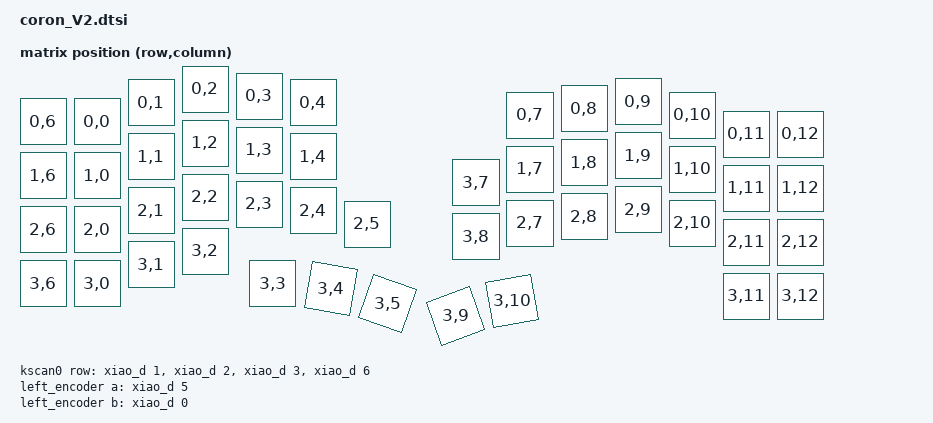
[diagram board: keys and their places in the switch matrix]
#include <dt-bindings/zmk/matrix_transform.h>
#include <physical_layouts.dtsi>

/ {
    chosen {
        zmk,physical-layout = &coron_v2_physical_layout;
    };

    coron_v2_physical_layout: coron_v2_physical_layout {
        compatible = "zmk,physical-layout";
        display-name = "Default";
        transform = <&default_transform>;
        kscan = <&kscan0>;

        /* Derived from the PCB switch positions. 19 mm pitch = 100 units.
           The order matches &default_transform, position for position. */
        keys  //                    w    h     x     y     rot     rx     ry
            = <&key_physical_attrs 100 100     0    65       0      0      0>  /* RC(0,6) */
            , <&key_physical_attrs 100 100   108    65       0      0      0>  /* RC(0,0) */
            , <&key_physical_attrs 100 100   216    27       0      0      0>  /* RC(0,1) */
            , <&key_physical_attrs 100 100   324     0       0      0      0>  /* RC(0,2) */
            , <&key_physical_attrs 100 100   432    14       0      0      0>  /* RC(0,3) */
            , <&key_physical_attrs 100 100   540    27       0      0      0>  /* RC(0,4) */
            , <&key_physical_attrs 100 100   974    52       0      0      0>  /* RC(0,7) */
            , <&key_physical_attrs 100 100  1082    39       0      0      0>  /* RC(0,8) */
            , <&key_physical_attrs 100 100  1190    25       0      0      0>  /* RC(0,9) */
            , <&key_physical_attrs 100 100  1298    52       0      0      0>  /* RC(0,10) */
            , <&key_physical_attrs 100 100  1406    90       0      0      0>  /* RC(0,11) */
            , <&key_physical_attrs 100 100  1514    90       0      0      0>  /* RC(0,12) */
            , <&key_physical_attrs 100 100     0   173       0      0      0>  /* RC(1,6) */
            , <&key_physical_attrs 100 100   108   173       0      0      0>  /* RC(1,0) */
            , <&key_physical_attrs 100 100   216   135       0      0      0>  /* RC(1,1) */
            , <&key_physical_attrs 100 100   324   108       0      0      0>  /* RC(1,2) */
            , <&key_physical_attrs 100 100   432   122       0      0      0>  /* RC(1,3) */
            , <&key_physical_attrs 100 100   540   135       0      0      0>  /* RC(1,4) */
            , <&key_physical_attrs 100 100   866   187       0      0      0>  /* RC(3,7) */
            , <&key_physical_attrs 100 100   974   160       0      0      0>  /* RC(1,7) */
            , <&key_physical_attrs 100 100  1082   147       0      0      0>  /* RC(1,8) */
            , <&key_physical_attrs 100 100  1190   133       0      0      0>  /* RC(1,9) */
            , <&key_physical_attrs 100 100  1298   160       0      0      0>  /* RC(1,10) */
            , <&key_physical_attrs 100 100  1406   198       0      0      0>  /* RC(1,11) */
            , <&key_physical_attrs 100 100  1514   198       0      0      0>  /* RC(1,12) */
            , <&key_physical_attrs 100 100     0   281       0      0      0>  /* RC(2,6) */
            , <&key_physical_attrs 100 100   108   281       0      0      0>  /* RC(2,0) */
            , <&key_physical_attrs 100 100   216   243       0      0      0>  /* RC(2,1) */
            , <&key_physical_attrs 100 100   324   216       0      0      0>  /* RC(2,2) */
            , <&key_physical_attrs 100 100   432   230       0      0      0>  /* RC(2,3) */
            , <&key_physical_attrs 100 100   540   243       0      0      0>  /* RC(2,4) */
            , <&key_physical_attrs 100 100   648   270       0      0      0>  /* RC(2,5) */
            , <&key_physical_attrs 100 100   866   295       0      0      0>  /* RC(3,8) */
            , <&key_physical_attrs 100 100   974   268       0      0      0>  /* RC(2,7) */
            , <&key_physical_attrs 100 100  1082   255       0      0      0>  /* RC(2,8) */
            , <&key_physical_attrs 100 100  1190   241       0      0      0>  /* RC(2,9) */
            , <&key_physical_attrs 100 100  1298   268       0      0      0>  /* RC(2,10) */
            , <&key_physical_attrs 100 100  1406   306       0      0      0>  /* RC(2,11) */
            , <&key_physical_attrs 100 100  1514   306       0      0      0>  /* RC(2,12) */
            , <&key_physical_attrs 100 100     0   389       0      0      0>  /* RC(3,6) */
            , <&key_physical_attrs 100 100   108   389       0      0      0>  /* RC(3,0) */
            , <&key_physical_attrs 100 100   216   351       0      0      0>  /* RC(3,1) */
            , <&key_physical_attrs 100 100   324   324       0      0      0>  /* RC(3,2) */
            , <&key_physical_attrs 100 100   459   389       0      0      0>  /* RC(3,3) */
            , <&key_physical_attrs 100 100   576   399    1000    626    449>  /* RC(3,4) */
            , <&key_physical_attrs 100 100   689   429    2000    739    479>  /* RC(3,5) */
            , <&key_physical_attrs 100 100   825   454 (-2000)    875    504>  /* RC(3,9) */
            , <&key_physical_attrs 100 100   938   424 (-1000)    988    474>  /* RC(3,10) */
            , <&key_physical_attrs 100 100  1406   414       0      0      0>  /* RC(3,11) */
            , <&key_physical_attrs 100 100  1514   414       0      0      0>  /* RC(3,12) */
            ;
    };

    default_transform: keymap_transform_0 {
        compatible = "zmk,matrix-transform";
        columns = <13>;
        rows = <4>;
        map = <
/* Left: col 0-6                                  Right: col 7-12 (col-offset 7)
   Row0/Col5 has no key, and Row1/Col5 is the rotary encoder, which is used
   for rotation only - neither is part of the transform. */
RC(0,6) RC(0,0) RC(0,1) RC(0,2) RC(0,3) RC(0,4)                 RC(0,7) RC(0,8) RC(0,9) RC(0,10) RC(0,11) RC(0,12)
RC(1,6) RC(1,0) RC(1,1) RC(1,2) RC(1,3) RC(1,4)         RC(3,7) RC(1,7) RC(1,8) RC(1,9) RC(1,10) RC(1,11) RC(1,12)
RC(2,6) RC(2,0) RC(2,1) RC(2,2) RC(2,3) RC(2,4) RC(2,5) RC(3,8) RC(2,7) RC(2,8) RC(2,9) RC(2,10) RC(2,11) RC(2,12)
RC(3,6) RC(3,0) RC(3,1) RC(3,2) RC(3,3) RC(3,4) RC(3,5) RC(3,9) RC(3,10) RC(3,11)                         RC(3,12)
        >;
    };

    kscan0: kscan {
        compatible = "zmk,kscan-gpio-matrix";
        diode-direction = "col2row";
            row-gpios
                = <&xiao_d 1 (GPIO_ACTIVE_HIGH | GPIO_PULL_DOWN)>
                , <&xiao_d 2 (GPIO_ACTIVE_HIGH | GPIO_PULL_DOWN)>
                , <&xiao_d 3 (GPIO_ACTIVE_HIGH | GPIO_PULL_DOWN)>
                , <&xiao_d 6 (GPIO_ACTIVE_HIGH | GPIO_PULL_DOWN)>
                ;
    };

    left_encoder: encoder_left {
        compatible = "alps,ec11";
        a-gpios = <&xiao_d 5 (GPIO_ACTIVE_HIGH | GPIO_PULL_UP)>;
        b-gpios = <&xiao_d 0 (GPIO_ACTIVE_HIGH | GPIO_PULL_UP)>;
        steps = <12>;
        status = "disabled";
    };

    right_encoder: encoder_right {
        status = "disabled";
    };

    sensors: sensors {
        compatible = "zmk,keymap-sensors";
        sensors = <&left_encoder &right_encoder>;
        triggers-per-rotation = <10>;
    };

    trackball_listener: trackball_listener {
        compatible = "zmk,input-listener";
        status = "disabled";
    };
};

&spi0 {
    status = "disabled";

    trackball: trackball@0 {
        status = "disabled";
        reg = <0>;
    };
};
